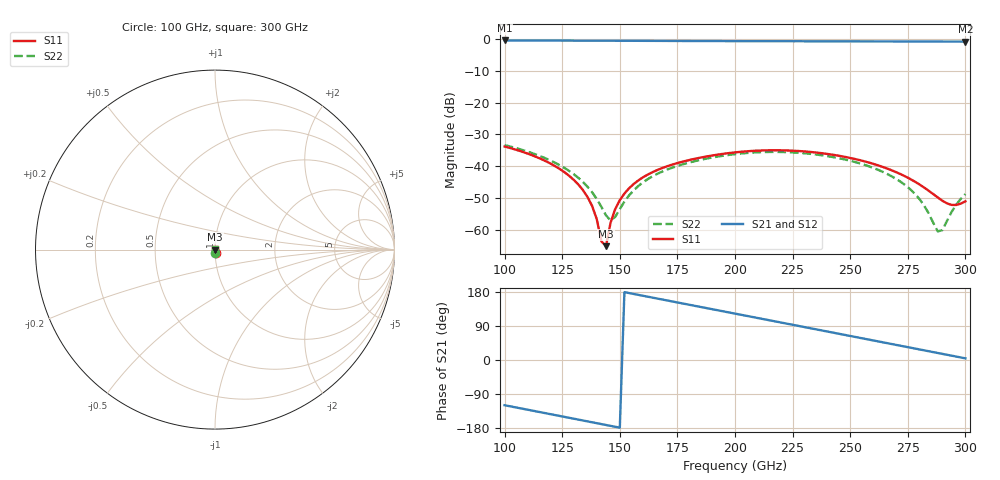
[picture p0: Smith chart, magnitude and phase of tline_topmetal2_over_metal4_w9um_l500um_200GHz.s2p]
#  GHZ S DB R 50
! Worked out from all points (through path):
!   101 points, 100 GHz to 300 GHz, reference 50 ohm
!   highest |S21| = -0.40 dB at 100 GHz (marker M1); lowest = -0.8 dB at 300 GHz (marker M2)
!   group delay of S21, straight-line fit = 3.28 ps
!   lowest |S11| = -65.3 dB at 144 GHz (marker M3), VSWR 1.00, Z = 50 + j0.0542 ohm
!   |S11| at or under -10 dB: start of sweep to end of sweep
!   |S22| runs from -60.6 to -33.4 dB; largest |S21 - S12| = 1.1e-14
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100  -33.83 -81.5  -0.40 -119.3  -0.40 -119.3  -33.39 -83.5
120  -39.24 -105.6  -0.43 -143.0  -0.43 -143.0  -38.28 -109.8
134  -47.58 -125.3  -0.46 -159.6  -0.46 -159.6  -45.01 -134.0
138  -52.61 -134.3  -0.47 -164.4  -0.47 -164.4  -48.28 -145.4
140  -56.72 -142.8  -0.47 -166.7  -0.47 -166.7  -50.37 -153.9
142  -63.72 -167.5  -0.48 -169.1  -0.48 -169.1  -52.85 -166.5
144  -65.25 96.9  -0.48 -171.5  -0.48 -171.5  -55.54 172.7
146  -57.81 65.0  -0.48 -173.8  -0.48 -173.8  -57.15 139.7
148  -53.57 55.5  -0.49 -176.2  -0.49 -176.2  -56.03 105.5
152  -48.66 46.2  -0.50 179.1  -0.50 179.1  -51.22 70.0
158  -44.55 37.2  -0.51 172.0  -0.51 172.0  -46.31 49.7
168  -40.74 25.3  -0.54 160.1  -0.54 160.1  -41.87 32.4
200  -35.68 -9.2  -0.61 122.4  -0.61 122.4  -36.24 -5.9
218  -35.02 -32.2  -0.63 101.2  -0.63 101.2  -35.54 -29.4
234  -35.64 -54.1  -0.65 82.3  -0.65 82.3  -36.25 -51.2
252  -37.76 -80.3  -0.68 61.1  -0.68 61.1  -38.71 -76.3
268  -41.33 -106.9  -0.71 42.2  -0.71 42.2  -43.23 -100.5
280  -45.77 -134.3  -0.73 28.0  -0.73 28.0  -50.34 -126.0
288  -49.90 -165.9  -0.74 18.5  -0.74 18.5  -60.59 167.1
290  -50.92 -177.8  -0.74 16.2  -0.74 16.2  -60.22 124.7
294  -52.24 152.8  -0.75 11.4  -0.75 11.4  -54.47 81.0
300  -51.11 107.9  -0.76 4.3  -0.76 4.3  -48.81 59.0
